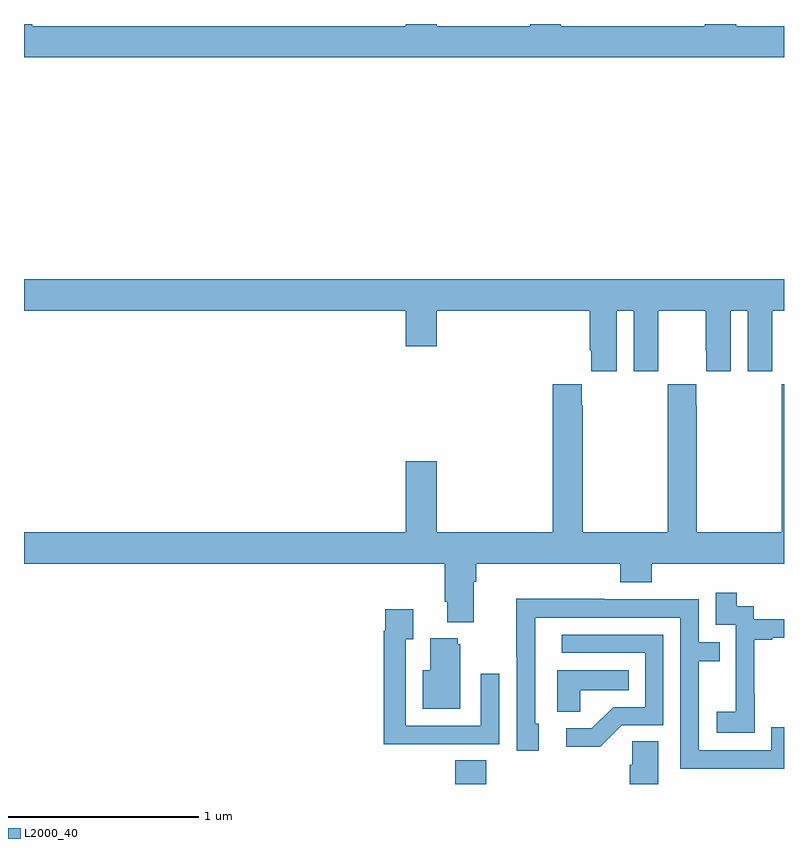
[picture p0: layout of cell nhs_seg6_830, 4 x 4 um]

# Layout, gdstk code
import gdstk
lib = gdstk.Library(unit=1e-6, precision=1e-09)
def R(c, l, rs):  # rectangles x0, y0, x1, y1
    for r in rs: c.add(gdstk.rectangle(r[:2], r[2:], *l))
def P(c, l, *ps):  # polygons
    for p in ps: c.add(gdstk.Polygon(p, *l))
L2000_40 = (2000, 40)

nhs_seg6_830 = lib.new_cell('nhs_seg6_830')
R(nhs_seg6_830, L2000_40, [(165.269,955.5,165.434,955.625)])
P(nhs_seg6_830, L2000_40, [(167,959.488),(166.748,959.488),(166.748,959.5),(166.583,959.5),(166.583,959.488),(165.824,959.488),(165.824,959.5),(165.664,959.5),(165.664,959.488),(165.172,959.488),(165.172,959.5),(165.008,959.5),(165.008,959.488),(163.043,959.488),(163.043,959.5),(163,959.5),(163,959.324),(167,959.324)],
  [(166.12,957.992),(166.208,957.992),(166.208,957.672),(166.338,957.672),(166.338,957.784),(166.339,957.784),(166.339,957.992),(166.589,957.992),(166.589,957.784),(166.59,957.784),(166.59,957.672),(166.72,957.672),(166.72,957.992),(166.808,957.992),(166.808,957.672),(166.938,957.672),(166.938,957.784),(166.939,957.784),(166.939,957.992),(167,957.992),(167,958.156),(163,958.156),(163,957.992),(165.008,957.992),(165.008,957.804),(165.172,957.804),(165.172,957.992),(165.977,957.992),(165.977,957.784),(165.986,957.784),(165.986,957.672),(166.12,957.672)],
  [(165.367,956.564),(165.38,956.564),(165.38,956.66),(166.139,956.66),(166.139,956.561),(166.304,956.561),(166.304,956.66),(167,956.66),(167,957.604),(166.989,957.604),(166.989,957.491),(166.987,957.491),(166.987,956.824),(166.542,956.824),(166.542,957.491),(166.539,957.491),(166.539,957.604),(166.389,957.604),(166.389,957.491),(166.387,957.491),(166.387,956.824),(165.942,956.824),(165.942,957.491),(165.935,957.491),(165.935,957.604),(165.782,957.604),(165.782,956.824),(165.172,956.824),(165.172,957.199),(165.008,957.199),(165.008,956.824),(163,956.824),(163,956.66),(165.215,956.66),(165.215,956.458),(165.227,956.458),(165.227,956.351),(165.367,956.351)],
  [(166.845,955.975),(166.844,955.975),(166.844,956.259),(166.939,956.259),(166.939,956.271),(167,956.271),(167,956.367),(166.842,956.367),(166.842,956.436),(166.75,956.436),(166.75,956.506),(166.641,956.506),(166.641,956.337),(166.746,956.337),(166.746,956.108),(166.745,956.108),(166.745,955.879),(166.647,955.879),(166.647,955.769),(166.845,955.769)],
  [(167,955.8),(166.932,955.8),(166.932,955.677),(166.551,955.677),(166.551,956.146),(166.661,956.146),(166.661,956.247),(166.551,956.247),(166.551,956.472),(166.055,956.472),(166.055,956.474),(165.592,956.474),(165.592,956.167),(165.594,956.167),(165.594,955.674),(165.709,955.674),(165.709,955.818),(165.69,955.818),(165.69,956.376),(166.455,956.376),(166.455,955.581),(167,955.581)],
  [(165.185,955.71),(165.501,955.71),(165.501,956.08),(165.405,956.08),(165.405,955.806),(165.009,955.806),(165.009,956.263),(165.049,956.263),(165.049,956.419),(164.901,956.419),(164.901,956.306),(164.893,956.306),(164.893,955.709),(165.185,955.709)],
  [(166.146,955.809),(166.365,955.809),(166.365,956.286),(165.831,956.286),(165.831,956.19),(166.269,956.19),(166.269,955.905),(166.1,955.905),(165.989,955.794),(165.855,955.794),(165.855,955.697),(166.033,955.697)],
  [(165.295,956.235),(165.284,956.235),(165.284,956.266),(165.137,956.266),(165.137,956.098),(165.098,956.098),(165.098,955.895),(165.295,955.895)],
  [(165.927,955.994),(166.184,955.994),(166.184,956.098),(165.806,956.098),(165.806,955.879),(165.927,955.879)],
  [(166.339,955.724),(166.2,955.724),(166.2,955.601),(166.187,955.601),(166.187,955.5),(166.339,955.5)])

lib.write_gds('nhs_seg6_830.gds')
